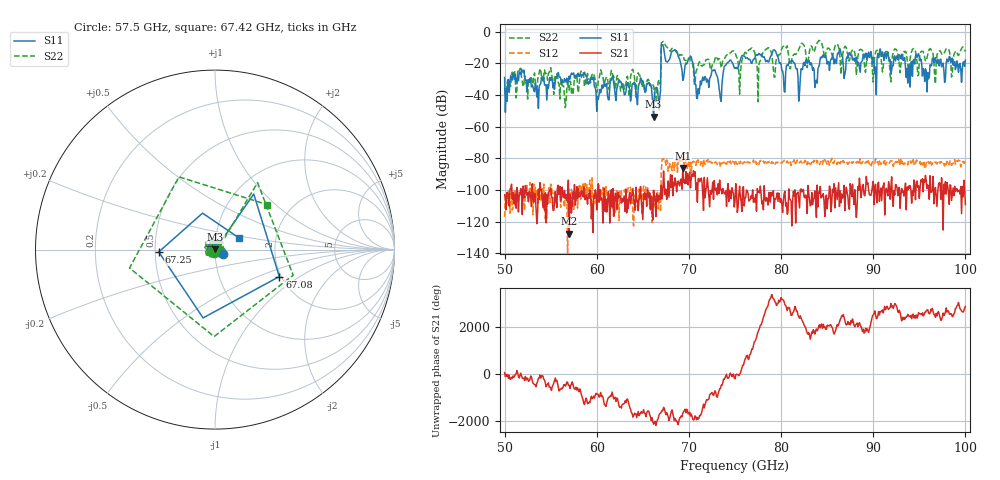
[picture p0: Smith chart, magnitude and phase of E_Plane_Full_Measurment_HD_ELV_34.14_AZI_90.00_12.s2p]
! 11/26/2026 3:20:11 PM
! C:\ANRITSUVNA\TEMP\TEMP.S2P
! CHANNEL.1
! TR.MEASUREMENT
! RAW.DATA
# HZ S RI R 50.0
! FREQ.HZ  S11RE  S11IM  S21RE  S21IM  S12RE  S12IM  S22RE  S22IM
!; PortSelection: Port_12
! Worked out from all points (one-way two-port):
!   601 points, 50 GHz to 100 GHz, reference 50 ohm
!   highest |S21| = -86.12 dB at 69.33 GHz (marker M1); lowest = -127.7 dB at 57 GHz (marker M2)
!   lowest |S11| = -53.8 dB at 66.17 GHz (marker M3), VSWR 1.00, Z = 50.1 + j0.149 ohm
!   |S11| at or under -10 dB: start of sweep to 67 GHz; 67.25 GHz to end of sweep
!   |S22| runs from -48.0 to -5.6 dB; largest |S21 - S12| = 0.00013
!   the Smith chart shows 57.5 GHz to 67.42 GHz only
!   S11 on the Smith chart (normalised r, x): 57.5 GHz: 1.09, -0.05; 67.08 GHz: 1.96, -0.69; 67.25 GHz: 0.52, -0.02; 67.42 GHz: 1.29, +0.18
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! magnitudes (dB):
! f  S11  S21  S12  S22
! 50 GHz  -29.0  -103.1  -117.1  -35.8
! 51.67 GHz  -26.3  -103.2  -102.3  -23.3
! 57 GHz  -28.2  -127.7  -99.5  -37.2
! 57.5 GHz  -26.2  -105.7  -112.4  -34.7
! 58.42 GHz  -27.2  -102.3  -99.7  -24.7
! 60.17 GHz  -42.8  -96.2  -108.2  -30.4
! 66.17 GHz  -53.8  -100.3  -100.4  -34.0
! 66.67 GHz  -41.5  -107.1  -112.0  -31.7
! 67.08 GHz  -8.2  -105.8  -80.9  -6.8
! 67.25 GHz  -10.1  -88.1  -80.8  -6.2
! 67.42 GHz  -16.6  -103.0  -80.8  -8.3
! 69.33 GHz  -30.8  -86.1  -82.3  -14.8
! 70.25 GHz  -15.9  -92.7  -90.1  -18.8
! 70.92 GHz  -42.3  -107.8  -83.1  -23.1
! 75 GHz  -23.3  -107.2  -84.1  -13.0
! 79.25 GHz  -11.5  -111.9  -82.8  -28.8
! 80.25 GHz  -27.8  -106.7  -82.1  -9.3
! 83.42 GHz  -24.4  -109.2  -81.3  -10.8
! 91.67 GHz  -16.6  -94.8  -83.7  -15.2
! 94.83 GHz  -15.1  -98.5  -82.6  -27.9
! 95.83 GHz  -38.1  -99.1  -81.5  -16.5
! 100 GHz  -18.0  -109.4  -83.4  -12.6
